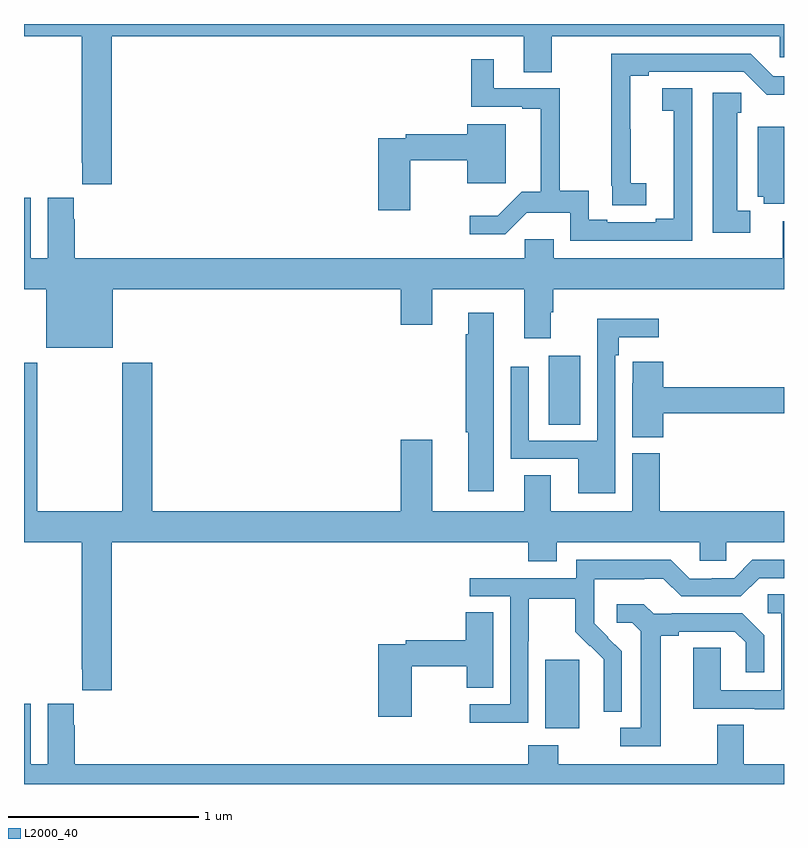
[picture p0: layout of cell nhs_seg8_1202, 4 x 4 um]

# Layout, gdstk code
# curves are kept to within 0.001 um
import gdstk
lib = gdstk.Library(unit=1e-6, precision=1e-09)
def R(c, l, rs):  # rectangles x0, y0, x1, y1
    for r in rs: c.add(gdstk.rectangle(r[:2], r[2:], *l))
def P(c, l, *ps):  # polygons
    for p in ps: c.add(gdstk.Polygon(p, *l))
L2000_40 = (2000, 40)

nhs_seg8_1202 = lib.new_cell('nhs_seg8_1202')
R(nhs_seg8_1202, L2000_40, [(189.743,1110.194,189.922,1110.555), (189.761,1111.792,189.928,1112.155)])
P(nhs_seg8_1202, L2000_40, [(187.463,1113.836),(189.629,1113.836),(189.629,1113.646),(189.777,1113.646),(189.777,1113.836),(190.977,1113.836),(190.977,1113.726),(191,1113.726),(191,1113.9),(187,1113.9),(187,1113.836),(187.303,1113.836),(187.303,1113.169),(187.307,1113.169),(187.307,1113.057),(187.463,1113.057)],
  [(190.276,1113.062),(190.194,1113.062),(190.192,1113.628),(190.288,1113.628),(190.288,1113.648),(190.788,1113.648),(190.909,1113.527),(191,1113.527),(191,1113.624),(190.944,1113.624),(190.824,1113.744),(190.09,1113.744),(190.09,1113.049),(190.096,1113.049),(190.096,1112.947),(190.276,1112.947)],
  [(190.518,1113.563),(190.359,1113.563),(190.359,1113.443),(190.42,1113.443),(190.421,1112.876),(190.325,1112.876),(190.325,1112.856),(190.069,1112.856),(190.069,1112.87),(189.972,1112.87),(189.972,1113.023),(189.821,1113.023),(189.821,1113.561),(189.472,1113.561),(189.472,1113.715),(189.355,1113.715),(189.355,1113.465),(189.623,1113.465),(189.623,1113.453),(189.719,1113.453),(189.719,1113.016),(189.619,1113.016),(189.493,1112.89),(189.345,1112.89),(189.345,1112.793),(189.534,1112.793),(189.647,1112.906),(189.876,1112.906),(189.876,1112.76),(190.518,1112.76)],
  [(190.822,1112.916),(190.753,1112.916),(190.753,1113.432),(190.775,1113.432),(190.775,1113.538),(190.625,1113.538),(190.625,1112.801),(190.822,1112.801)],
  [(189.034,1113.184),(189.332,1113.184),(189.332,1113.063),(189.535,1113.063),(189.535,1113.373),(189.332,1113.373),(189.332,1113.32),(189.01,1113.32),(189.01,1113.3),(188.864,1113.3),(188.864,1112.919),(189.034,1112.919)],
  [(191,1113.358),(190.862,1113.358),(190.862,1112.99),(190.894,1112.99),(190.894,1112.953),(191,1112.953)],
  [(187.468,1112.504),(188.984,1112.504),(188.984,1112.316),(189.148,1112.316),(189.148,1112.504),(189.632,1112.504),(189.632,1112.247),(189.772,1112.247),(189.772,1112.384),(189.785,1112.384),(189.785,1112.504),(191,1112.504),(191,1112.863),(190.994,1112.863),(190.994,1112.668),(189.787,1112.668),(189.787,1112.766),(189.636,1112.766),(189.636,1112.668),(187.268,1112.668),(187.268,1112.873),(187.261,1112.873),(187.261,1112.986),(187.124,1112.986),(187.124,1112.668),(187.036,1112.668),(187.036,1112.986),(187,1112.986),(187,1112.504),(187.118,1112.504),(187.118,1112.195),(187.468,1112.195)],
  [(189.472,1112.38),(189.338,1112.38),(189.338,1112.267),(189.326,1112.267),(189.326,1111.752),(189.338,1111.752),(189.338,1111.44),(189.472,1111.44)],
  [(190.113,1112.156),(190.129,1112.156),(190.129,1112.252),(190.342,1112.252),(190.342,1112.35),(190.017,1112.35),(190.017,1111.707),(189.657,1111.707),(189.657,1112.095),(189.561,1112.095),(189.561,1111.611),(189.917,1111.611),(189.917,1111.43),(190.113,1111.43)],
  [(190.364,1111.852),(191,1111.852),(191,1111.988),(190.364,1111.988),(190.364,1112.122),(190.203,1112.122),(190.203,1112.009),(190.202,1112.009),(190.202,1111.726),(190.364,1111.726)],
  [(189.632,1111.336),(189.148,1111.336),(189.148,1111.711),(188.984,1111.711),(188.984,1111.336),(187.676,1111.336),(187.676,1112.116),(187.516,1112.116),(187.516,1111.336),(187.071,1111.336),(187.071,1112.116),(187,1112.116),(187,1111.172),(187.303,1111.172),(187.303,1110.505),(187.307,1110.505),(187.307,1110.393),(187.463,1110.393),(187.463,1111.172),(189.653,1111.172),(189.653,1111.073),(189.805,1111.073),(189.805,1111.172),(190.557,1111.172),(190.557,1111.074),(190.695,1111.074),(190.695,1111.172),(191,1111.172),(191,1111.336),(190.346,1111.336),(190.346,1111.641),(190.202,1111.641),(190.202,1111.336),(189.772,1111.336),(189.772,1111.526),(189.632,1111.526)],
  [(189.654,1110.652),(189.657,1110.652),(189.657,1110.876),(189.901,1110.876),(189.901,1110.701),(189.978,1110.624),(189.981,1110.627),(190.052,1110.557),(190.052,1110.434),(190.05,1110.434),(190.05,1110.28),(190.146,1110.28),(190.146,1110.598),(190,1110.746),(190,1110.843),(190.002,1110.843),(190.002,1110.977),(190.265,1110.977),(190.265,1110.981),(190.365,1110.981),(190.458,1110.888),(190.773,1110.888),(190.869,1110.984),(191,1110.984),(191,1111.08),(190.833,1111.08),(190.737,1110.984),(190.619,1110.984),(190.619,1110.981),(190.503,1110.981),(190.403,1111.081),(189.906,1111.081),(189.906,1110.984),(189.345,1110.984),(189.345,1110.888),(189.558,1110.888),(189.558,1110.321),(189.345,1110.321),(189.345,1110.223),(189.654,1110.223)],
  [(191,1110.899),(190.914,1110.899),(190.914,1110.798),(190.986,1110.798),(190.986,1110.393),(190.668,1110.393),(190.668,1110.617),(190.523,1110.617),(190.523,1110.297),(190.847,1110.297),(190.847,1110.293),(191,1110.293)],
  [(190.351,1110.68),(190.447,1110.68),(190.447,1110.702),(190.742,1110.702),(190.799,1110.645),(190.799,1110.489),(190.896,1110.489),(190.896,1110.682),(190.78,1110.798),(190.408,1110.798),(190.408,1110.795),(190.314,1110.795),(190.262,1110.847),(190.119,1110.847),(190.119,1110.75),(190.2,1110.75),(190.247,1110.703),(190.247,1110.195),(190.137,1110.195),(190.137,1110.099),(190.351,1110.099)],
  [(189.042,1110.52),(189.331,1110.52),(189.331,1110.406),(189.469,1110.406),(189.469,1110.803),(189.326,1110.803),(189.326,1110.656),(189.01,1110.656),(189.01,1110.636),(188.864,1110.636),(188.864,1110.255),(189.042,1110.255)],
  [(191,1110.004),(190.789,1110.004),(190.789,1110.212),(190.649,1110.212),(190.649,1110.004),(189.813,1110.004),(189.813,1110.103),(189.653,1110.103),(189.653,1110.004),(187.268,1110.004),(187.268,1110.209),(187.261,1110.209),(187.261,1110.322),(187.124,1110.322),(187.124,1110.004),(187.036,1110.004),(187.036,1110.322),(187,1110.322),(187,1109.9),(191,1109.9)])

lib.write_gds('nhs_seg8_1202.gds')
